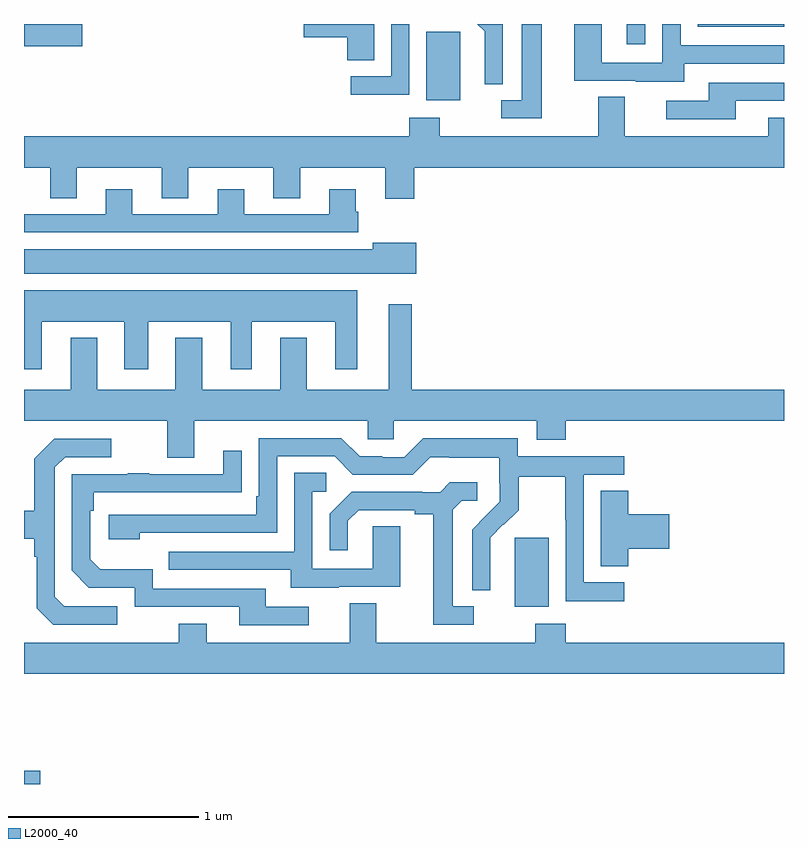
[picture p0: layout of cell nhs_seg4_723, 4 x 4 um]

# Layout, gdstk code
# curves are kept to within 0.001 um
import gdstk
lib = gdstk.Library(unit=1e-6, precision=1e-09)
def R(c, l, rs):  # rectangles x0, y0, x1, y1
    for r in rs: c.add(gdstk.rectangle(r[:2], r[2:], *l))
def P(c, l, *ps):  # polygons
    for p in ps: c.add(gdstk.Polygon(p, *l))
L2000_40 = (2000, 40)

nhs_seg4_723 = lib.new_cell('nhs_seg4_723')
R(nhs_seg4_723, L2000_40, [(147,802.9,147.085,802.97), (149.582,803.834,149.761,804.195), (149.117,806.498,149.296,806.859), (147,806.782,147.307,806.9), (150.173,806.793,150.27,806.9), (150.546,806.886,151,806.9)])
P(nhs_seg4_723, L2000_40, [(148.843,806.9),(148.472,806.9),(148.472,806.831),(148.7,806.831),(148.7,806.71),(148.843,806.71)],
  [(149.725,806.9),(149.621,806.9),(149.621,806.499),(149.511,806.499),(149.511,806.403),(149.725,806.403)],
  [(149.52,806.9),(149.386,806.9),(149.426,806.861),(149.426,806.738),(149.424,806.738),(149.424,806.584),(149.52,806.584)],
  [(149.028,806.9),(148.932,806.9),(148.932,806.625),(148.719,806.625),(148.719,806.527),(149.028,806.527)],
  [(150.475,806.691),(151,806.691),(151,806.787),(150.456,806.787),(150.456,806.9),(150.36,806.9),(150.36,806.697),(150.042,806.697),(150.042,806.9),(149.897,806.9),(149.897,806.601),(150.221,806.601),(150.221,806.597),(150.475,806.597)],
  [(150.745,806.496),(151,806.496),(151,806.592),(150.605,806.592),(150.605,806.496),(150.381,806.496),(150.381,806.4),(150.745,806.4)],
  [(149.054,806.144),(151,806.144),(151,806.407),(150.917,806.407),(150.917,806.308),(150.163,806.308),(150.163,806.516),(150.023,806.516),(150.023,806.308),(149.187,806.308),(149.187,806.407),(149.027,806.407),(149.027,806.308),(147,806.308),(147,806.144),(147.137,806.144),(147.137,805.984),(147.277,805.984),(147.277,806.144),(147.725,806.144),(147.725,805.984),(147.865,805.984),(147.865,806.144),(148.313,806.144),(148.313,805.984),(148.453,805.984),(148.453,806.144),(148.901,806.144),(148.901,805.98),(149.054,805.98)],
  [(148.76,805.911),(148.747,805.911),(148.747,806.029),(148.607,806.029),(148.607,805.899),(148.159,805.899),(148.159,806.029),(148.019,806.029),(148.019,805.899),(147.571,805.899),(147.571,806.029),(147.431,806.029),(147.431,805.899),(147,805.899),(147,805.803),(148.76,805.803)],
  [(149.065,805.75),(148.835,805.75),(148.835,805.714),(147,805.714),(147,805.586),(149.065,805.586)],
  [(147.094,805.334),(147.527,805.334),(147.527,805.083),(147.655,805.083),(147.655,805.334),(148.088,805.334),(148.088,805.083),(148.198,805.083),(148.198,805.334),(148.637,805.334),(148.637,805.083),(148.753,805.083),(148.753,805.498),(147,805.498),(147,805.083),(147.094,805.083)],
  [(147.895,804.812),(148.809,804.812),(148.809,804.714),(148.947,804.714),(148.947,804.812),(149.699,804.812),(149.699,804.713),(149.852,804.713),(149.852,804.812),(151,804.812),(151,804.976),(149.041,804.976),(149.041,805.426),(148.919,805.426),(148.919,804.976),(148.489,804.976),(148.489,805.249),(148.349,805.249),(148.349,804.976),(147.937,804.976),(147.937,805.249),(147.797,805.249),(147.797,804.976),(147.385,804.976),(147.385,805.249),(147.245,805.249),(147.245,804.976),(147,804.976),(147,804.812),(147.755,804.812),(147.755,804.618),(147.895,804.618)],
  [(150.16,803.961),(149.946,803.961),(149.946,804.528),(150.16,804.528),(150.16,804.624),(149.598,804.624),(149.598,804.721),(149.101,804.721),(149.001,804.621),(148.886,804.621),(148.886,804.624),(148.767,804.624),(148.671,804.72),(148.236,804.72),(148.236,804.415),(148.223,804.415),(148.223,804.318),(147.447,804.318),(147.447,804.188),(147.608,804.188),(147.608,804.222),(148.332,804.222),(148.332,804.624),(148.635,804.624),(148.731,804.528),(149.046,804.528),(149.139,804.621),(149.239,804.621),(149.239,804.617),(149.502,804.617),(149.502,804.483),(149.504,804.483),(149.504,804.386),(149.358,804.238),(149.358,803.92),(149.454,803.92),(149.453,804.197),(149.523,804.267),(149.526,804.264),(149.603,804.341),(149.603,804.516),(149.848,804.516),(149.848,804.292),(149.85,804.292),(149.85,803.863),(150.16,803.863)],
  [(147.49,803.835),(147.213,803.835),(147.162,803.886),(147.162,804.567),(147.216,804.621),(147.46,804.621),(147.46,804.717),(147.159,804.717),(147.054,804.611),(147.054,804.339),(147,804.339),(147,804.191),(147.054,804.191),(147.054,804.095),(147.066,804.095),(147.066,803.826),(147.153,803.739),(147.49,803.739)],
  [(148.498,803.832),(148.273,803.832),(148.273,803.928),(147.678,803.928),(147.678,804.031),(147.401,804.031),(147.348,804.084),(147.348,804.338),(147.368,804.338),(147.368,804.435),(148.145,804.436),(148.145,804.655),(148.049,804.655),(148.049,804.531),(147.659,804.531),(147.659,804.536),(147.547,804.536),(147.547,804.531),(147.252,804.531),(147.252,804.024),(147.342,803.934),(147.582,803.934),(147.582,803.832),(148.133,803.832),(148.133,803.736),(148.498,803.736)],
  [(148.657,803.937),(148.981,803.937),(148.981,804.257),(148.836,804.257),(148.836,804.033),(148.518,804.033),(148.518,804.438),(148.591,804.438),(148.591,804.539),(148.422,804.539),(148.422,804.123),(147.763,804.123),(147.763,804.027),(148.403,804.027),(148.403,803.933),(148.657,803.933)],
  [(149.368,803.835),(149.257,803.835),(149.257,804.343),(149.304,804.39),(149.386,804.39),(149.386,804.487),(149.242,804.487),(149.19,804.435),(149.096,804.435),(149.096,804.438),(148.724,804.438),(148.608,804.322),(148.608,804.129),(148.705,804.129),(148.705,804.285),(148.762,804.342),(149.057,804.342),(149.057,804.32),(149.153,804.32),(149.153,803.739),(149.368,803.739)],
  [(150.179,804.137),(150.397,804.137),(150.397,804.32),(150.179,804.32),(150.179,804.443),(150.035,804.443),(150.035,804.046),(150.179,804.046)],
  [(151,803.644),(149.852,803.644),(149.852,803.743),(149.692,803.743),(149.692,803.644),(148.855,803.644),(148.855,803.852),(148.715,803.852),(148.715,803.644),(147.961,803.644),(147.961,803.743),(147.814,803.743),(147.814,803.644),(147,803.644),(147,803.48),(151,803.48)])

lib.write_gds('nhs_seg4_723.gds')
